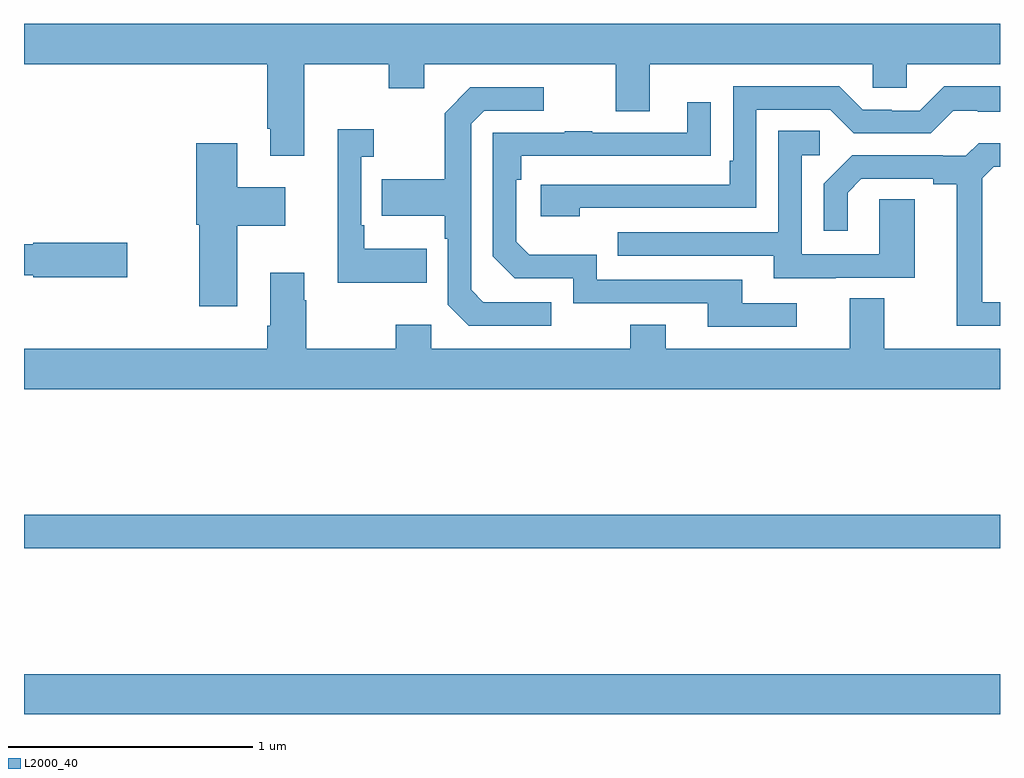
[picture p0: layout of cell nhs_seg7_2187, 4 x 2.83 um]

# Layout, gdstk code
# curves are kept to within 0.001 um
import gdstk
lib = gdstk.Library(unit=1e-6, precision=1e-09)
def R(c, l, rs):  # rectangles x0, y0, x1, y1
    for r in rs: c.add(gdstk.rectangle(r[:2], r[2:], *l))
def P(c, l, *ps):  # polygons
    for p in ps: c.add(gdstk.Polygon(p, *l))
L2000_40 = (2000, 40)

nhs_seg7_2187 = lib.new_cell('nhs_seg7_2187')
R(nhs_seg7_2187, L2000_40, [(253,1068.548,257,1068.712), (253,1069.228,257,1069.364)])
P(nhs_seg7_2187, L2000_40, [(254.149,1071.212),(254.494,1071.212),(254.494,1071.113),(254.641,1071.113),(254.641,1071.212),(255.425,1071.212),(255.425,1071.018),(255.565,1071.018),(255.565,1071.212),(256.479,1071.212),(256.479,1071.114),(256.617,1071.114),(256.617,1071.212),(257,1071.212),(257,1071.376),(253,1071.376),(253,1071.212),(253.997,1071.212),(253.997,1070.947),(254.009,1070.947),(254.009,1070.835),(254.149,1070.835)],
  [(255.278,1070.622),(256.002,1070.622),(256.002,1071.024),(256.305,1071.024),(256.401,1070.928),(256.716,1070.928),(256.809,1071.021),(256.909,1071.021),(256.909,1071.017),(257,1071.017),(257,1071.121),(256.771,1071.121),(256.671,1071.021),(256.556,1071.021),(256.556,1071.024),(256.437,1071.024),(256.341,1071.12),(255.906,1071.12),(255.906,1070.815),(255.893,1070.815),(255.893,1070.718),(255.117,1070.718),(255.117,1070.588),(255.278,1070.588)],
  [(255.16,1070.235),(254.883,1070.235),(254.832,1070.286),(254.832,1070.967),(254.886,1071.021),(255.13,1071.021),(255.13,1071.117),(254.829,1071.117),(254.724,1071.011),(254.724,1070.739),(254.467,1070.739),(254.467,1070.591),(254.724,1070.591),(254.724,1070.495),(254.736,1070.495),(254.736,1070.226),(254.823,1070.139),(255.16,1070.139)],
  [(256.168,1070.232),(255.943,1070.232),(255.943,1070.328),(255.348,1070.328),(255.348,1070.431),(255.071,1070.431),(255.018,1070.484),(255.018,1070.738),(255.038,1070.738),(255.038,1070.835),(255.815,1070.836),(255.815,1071.055),(255.719,1071.055),(255.719,1070.931),(255.329,1070.931),(255.329,1070.936),(255.217,1070.936),(255.217,1070.931),(254.922,1070.931),(254.922,1070.424),(255.012,1070.334),(255.252,1070.334),(255.252,1070.232),(255.803,1070.232),(255.803,1070.136),(256.168,1070.136)],
  [(254.651,1070.455),(254.395,1070.455),(254.395,1070.551),(254.382,1070.551),(254.382,1070.831),(254.434,1070.831),(254.434,1070.944),(254.285,1070.944),(254.285,1070.315),(254.651,1070.315)],
  [(256.327,1070.337),(256.651,1070.337),(256.651,1070.657),(256.506,1070.657),(256.506,1070.433),(256.188,1070.433),(256.188,1070.838),(256.261,1070.838),(256.261,1070.939),(256.092,1070.939),(256.092,1070.523),(255.433,1070.523),(255.433,1070.427),(256.073,1070.427),(256.073,1070.333),(256.327,1070.333)],
  [(253.873,1070.549),(254.071,1070.549),(254.071,1070.707),(253.873,1070.707),(253.873,1070.887),(253.706,1070.887),(253.706,1070.553),(253.718,1070.553),(253.718,1070.22),(253.873,1070.22)],
  [(257,1070.235),(256.927,1070.235),(256.927,1070.743),(256.974,1070.79),(257,1070.79),(257,1070.887),(256.912,1070.887),(256.86,1070.835),(256.766,1070.835),(256.766,1070.838),(256.394,1070.838),(256.278,1070.722),(256.278,1070.529),(256.375,1070.529),(256.375,1070.685),(256.432,1070.742),(256.727,1070.742),(256.727,1070.72),(256.823,1070.72),(256.823,1070.139),(257,1070.139)],
  [(253.423,1070.48),(253.038,1070.48),(253.038,1070.474),(253,1070.474),(253,1070.346),(253.038,1070.346),(253.038,1070.338),(253.423,1070.338)],
  [(254.009,1070.356),(254.009,1070.14),(253.997,1070.14),(253.997,1070.044),(253,1070.044),(253,1069.88),(257,1069.88),(257,1070.044),(256.525,1070.044),(256.525,1070.252),(256.385,1070.252),(256.385,1070.044),(255.631,1070.044),(255.631,1070.143),(255.484,1070.143),(255.484,1070.044),(254.67,1070.044),(254.67,1070.143),(254.524,1070.143),(254.524,1070.044),(254.157,1070.044),(254.157,1070.243),(254.149,1070.243),(254.149,1070.356)])

lib.write_gds('nhs_seg7_2187.gds')
